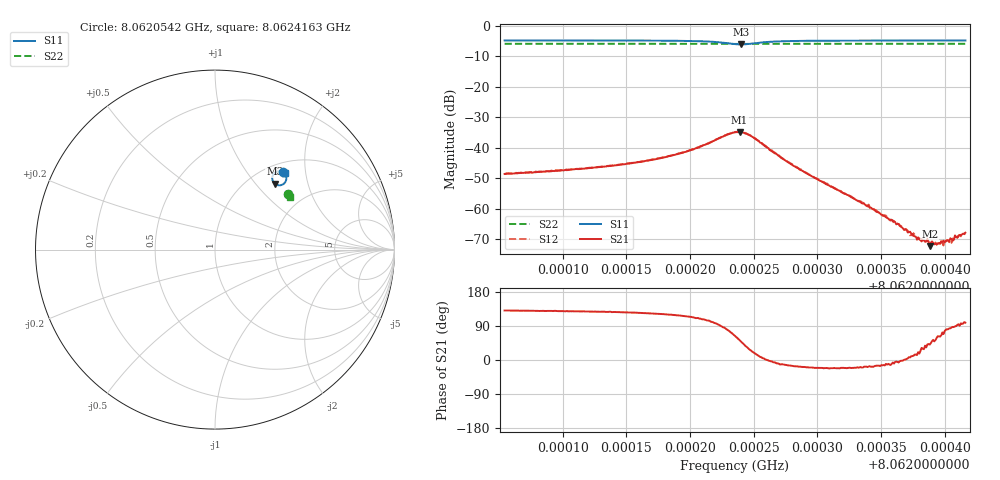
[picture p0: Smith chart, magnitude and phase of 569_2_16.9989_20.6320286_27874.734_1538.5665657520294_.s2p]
#  HZ  S  RI  R  50.00
! Rohde & Schwarz Vector Network Analyzer
! Rohde-Schwarz,ZNB20-2Port,1311601062101988,3.16
! Created: UTC 3/20/2024, 11:17:38 PM
! freq[Hz]  re:S11  im:S11  re:S21  im:S21  re:S12  im:S12  re:S22  im:S22
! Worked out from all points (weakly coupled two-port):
!   401 points, 8.0620542 GHz to 8.0624163 GHz, reference 50 ohm
!   highest |S21| = -34.80 dB at 8.0622389 GHz (marker M1); lowest = -72.2 dB at 8.0623882 GHz (marker M2)
!   lowest |S11| = -6.1 dB at 8.0622398 GHz (marker M3), VSWR 2.97, Z = 65.1 + j63.3 ohm
!   |S11| at or under -10 dB: nowhere
!   |S22| runs from -5.9 to -5.9 dB; largest |S21 - S12| = 0.0011
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8.06205422e9  0.3805 0.4323  -0.00242 0.00283  -0.00226 0.00299  0.4045 0.3083
8.06211487e9  0.3863 0.4264  -0.0028 0.00356  -0.00259 0.00377  0.4066 0.3052
8.06217552e9  0.3941 0.4145  -0.00351 0.0057  -0.00321 0.00594  0.409 0.3017
8.06219996e9  0.3975 0.4017  -0.00368 0.00833  -0.00322 0.00861  0.4097 0.2999
8.06222168e9  0.39 0.3741  -0.000983 0.014  -0.000183 0.014  0.4098 0.2977
8.06223526e9  0.3511 0.3586  0.00797 0.0162  0.009 0.0158  0.4083 0.2969
8.06223888e9  0.3362 0.3648  0.0112 0.0143  0.012 0.0138  0.4077 0.2972
8.06223978e9  0.333 0.3671  0.0119 0.0136  0.0127 0.0131  0.4076 0.2974
8.06224884e9  0.3189 0.4015  0.014 0.0057  0.0144 0.00489  0.4078 0.2986
8.06227328e9  0.3508 0.4362  0.00637 -0.00133  0.00638 -0.00174  0.4104 0.2986
8.06229591e9  0.3666 0.4362  0.0032 -0.00116  0.00318 -0.00139  0.4119 0.2972
8.06234207e9  0.3793 0.4313  0.000995 -0.000321  0.000961 -0.000396  0.4141 0.2948
8.06235656e9  0.3817 0.4299  0.000649 -0.000136  0.000644 -0.000182  0.4145 0.2938
8.06237285e9  0.3839 0.4286  0.000419 5.11e-05  0.000363 5.6e-05  0.4151 0.293
8.06238009e9  0.3847 0.428  0.000301 9.07e-05  0.000316 7.43e-05  0.4154 0.2925
8.06238824e9  0.3857 0.4272  0.000186 0.00016  0.000193 0.00015  0.4157 0.2923
8.06239367e9  0.3862 0.4268  0.000138 0.000219  0.000157 0.000209  0.4159 0.2919
8.06239729e9  0.3866 0.4266  0.000125 0.000267  0.000143 0.000235  0.4161 0.2917
8.06240182e9  0.3869 0.4262  4.85e-05 0.000302  9.64e-05 0.000287  0.4162 0.2914
8.06240544e9  0.3874 0.426  2.24e-05 0.000315  4.01e-05 0.000274  0.4164 0.2914
8.06241268e9  0.3881 0.4256  -4.39e-05 0.000373  2.11e-05 0.000353  0.4166 0.291
8.0624163e9  0.3884 0.4252  -5.99e-05 0.000402  -3.38e-05 0.000397  0.4167 0.2908
